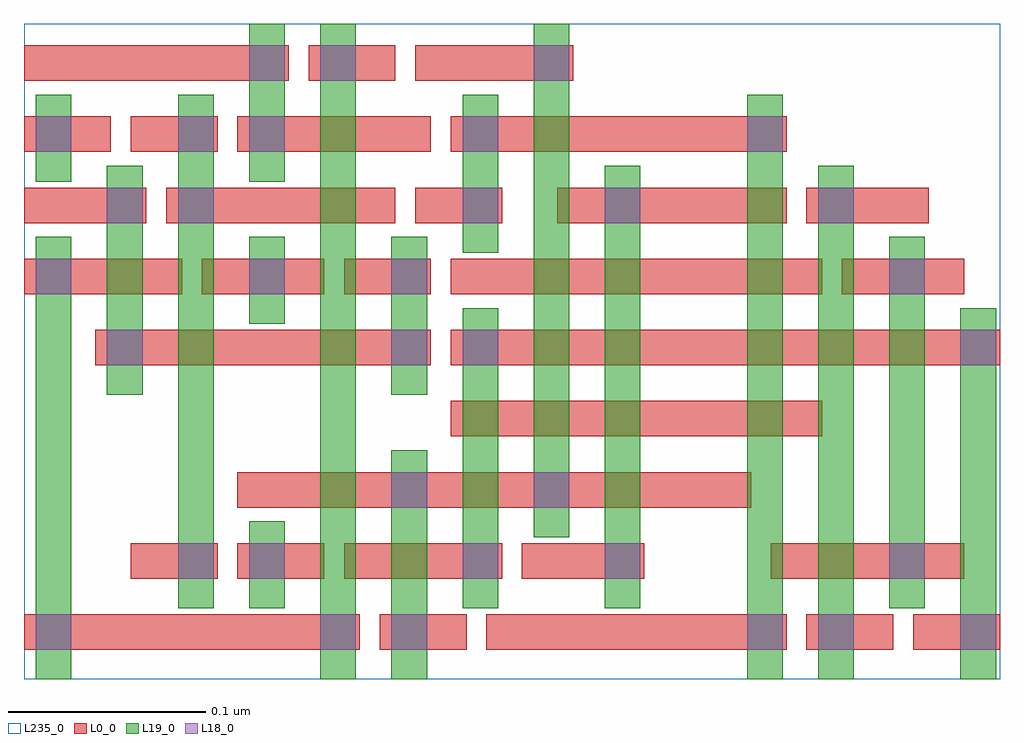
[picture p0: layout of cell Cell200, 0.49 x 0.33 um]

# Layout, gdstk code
import gdstk
lib = gdstk.Library(unit=1e-6, precision=2.5e-10)
def R(c, l, rs):  # rectangles x0, y0, x1, y1
    for r in rs: c.add(gdstk.rectangle(r[:2], r[2:], *l))
def A(c, l, x, y, w, h, nx, ny, dx, dy):  # array of equal rectangles
    R(c, l, [(x+i*dx, y+j*dy, x+i*dx+w, y+j*dy+h) for i in range(nx) for j in range(ny)])
L0_0 = (0, 0)
L18_0 = (18, 0)
L19_0 = (19, 0)
L235_0 = (235, 0)

cell200 = lib.new_cell('Cell200')
R(cell200, L0_0, [(0.004,-0.001,0.174,0.017), (0.184,-0.001,0.228,0.017), (0.238,-0.001,0.39,0.017), (0.4,-0.001,0.444,0.017), (0.454,-0.001,0.498,0.017), (0.058,0.035,0.102,0.053), (0.112,0.035,0.156,0.053), (0.166,0.035,0.246,0.053), (0.256,0.035,0.318,0.053), (0.382,0.035,0.48,0.053), (0.112,0.071,0.372,0.089), (0.22,0.107,0.408,0.125), (0.04,0.143,0.21,0.161), (0.22,0.143,0.498,0.161), (0.004,0.179,0.084,0.197), (0.094,0.179,0.156,0.197), (0.166,0.179,0.21,0.197), (0.22,0.179,0.408,0.197), (0.418,0.179,0.48,0.197), (0.004,0.215,0.066,0.233), (0.076,0.215,0.192,0.233), (0.202,0.215,0.246,0.233), (0.274,0.215,0.39,0.233), (0.4,0.215,0.462,0.233), (0.004,0.251,0.048,0.269), (0.058,0.251,0.102,0.269), (0.112,0.251,0.21,0.269), (0.22,0.251,0.39,0.269), (0.004,0.287,0.138,0.305), (0.148,0.287,0.192,0.305), (0.202,0.287,0.282,0.305)])
A(cell200, L18_0, 0.19, -0.001, 0.018, 0.018, 1, 3, 0, 0.072)
R(cell200, L18_0, [(0.01,-0.001,0.028,0.017), (0.154,-0.001,0.172,0.017), (0.37,-0.001,0.388,0.017), (0.406,-0.001,0.424,0.017), (0.478,-0.001,0.496,0.017), (0.082,0.035,0.1,0.053), (0.118,0.035,0.136,0.053), (0.226,0.035,0.244,0.053), (0.298,0.035,0.316,0.053), (0.442,0.035,0.46,0.053), (0.262,0.071,0.28,0.089), (0.046,0.143,0.064,0.161), (0.226,0.143,0.244,0.161), (0.478,0.143,0.496,0.161), (0.01,0.179,0.028,0.197), (0.118,0.179,0.136,0.197), (0.19,0.179,0.208,0.197), (0.442,0.179,0.46,0.197), (0.046,0.215,0.064,0.233), (0.082,0.215,0.1,0.233), (0.226,0.215,0.244,0.233), (0.298,0.215,0.316,0.233), (0.406,0.215,0.424,0.233), (0.01,0.251,0.028,0.269), (0.082,0.251,0.1,0.269), (0.118,0.251,0.136,0.269), (0.226,0.251,0.244,0.269), (0.37,0.251,0.388,0.269), (0.118,0.287,0.136,0.305), (0.154,0.287,0.172,0.305), (0.262,0.287,0.28,0.305)])
R(cell200, L19_0, [(0.01,-0.016,0.028,0.208), (0.154,-0.016,0.172,0.316), (0.19,-0.016,0.208,0.1), (0.37,-0.016,0.388,0.28), (0.406,-0.016,0.424,0.244), (0.478,-0.016,0.496,0.172), (0.082,0.02,0.1,0.28), (0.118,0.02,0.136,0.064), (0.226,0.02,0.244,0.172), (0.298,0.02,0.316,0.244), (0.442,0.02,0.46,0.208), (0.262,0.056,0.28,0.316), (0.046,0.128,0.064,0.244), (0.19,0.128,0.208,0.208), (0.118,0.164,0.136,0.208), (0.226,0.2,0.244,0.28), (0.01,0.236,0.028,0.28), (0.118,0.236,0.136,0.316)])
R(cell200, L235_0, [(0.004,-0.016,0.498,0.316)])

lib.write_gds('Cell200.gds')
